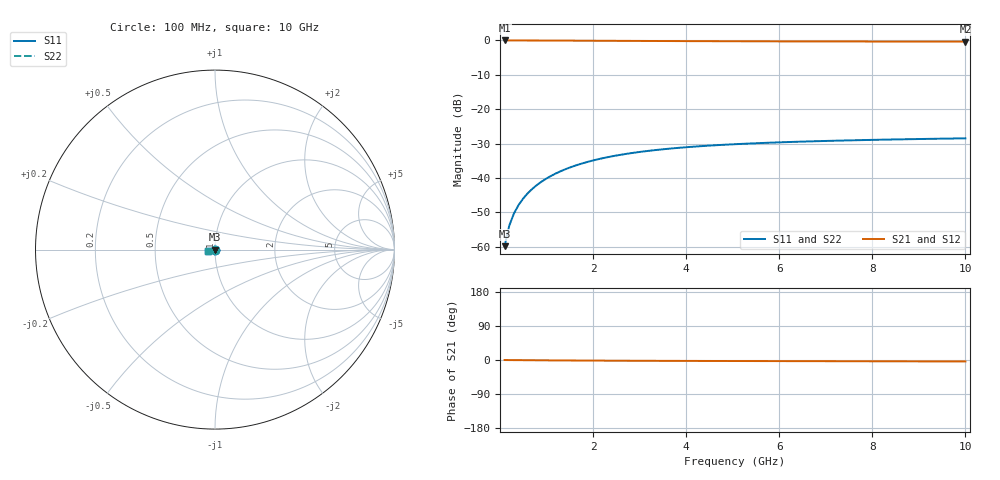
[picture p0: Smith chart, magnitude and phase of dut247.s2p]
! Touchstone file exported from HFSS 2024.1.0
!  File:  C:/UserFiles/LocalFiles/RDL_TSV_Batchsim/temp_TSV1_247_1778769041.aedt
!  Generated:  10:34:05 PM May 14, 2026
!  Design:  TSV1
!  Project:  temp_TSV1_247_1778769041
!  Setup:  Setup1
!  Solution:  Sweep
! Variables:
!  dtsv = 11.29um
!  hbump = 3um
!  htsv = 57.4um
!  lrdl = 252.1521522um
!  p = 40
!  p1 = 45.47um
!  t = 500um
!  trdl = 3um
!  wrdl = 24.89489489um
# GHz S MA R 50.000000
! Terminal data exported
! Port[1] = TSV22_T1
! Port[2] = TSV22_T2
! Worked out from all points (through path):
!   100 points, 100 MHz to 10 GHz, reference 50 ohm
!   highest |S21| = 0.00 dB at 100 MHz (marker M1); lowest = -0.3 dB at 10 GHz (marker M2)
!   lowest |S11| = -59.8 dB at 100 MHz (marker M3), VSWR 1.00, Z = 50 - j0.102 ohm
!   |S11| at or under -10 dB: start of sweep to end of sweep
!   |S22| runs from -59.8 to -28.5 dB; largest |S21 - S12| = 3.1e-15
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0.1  0.001022 -86.3  0.9999 -0.1  0.9999 -0.1  0.001022 -86.3
! Gamma 0 0 0 0
! Port Impedance 50 0 50 0
0.2  0.002035 -90.6  0.9998 -0.2  0.9998 -0.2  0.002035 -90.6
0.3  0.003046 -93.2  0.9996 -0.3  0.9996 -0.3  0.003046 -93.2
0.4  0.004051 -95.3  0.9994 -0.4  0.9994 -0.4  0.004051 -95.3
0.5  0.005048 -97.1  0.9991 -0.5  0.9991 -0.5  0.005048 -97.1
0.6  0.006036 -98.9  0.9988 -0.6  0.9988 -0.6  0.006036 -98.9
0.7  0.007011 -100.7  0.9984 -0.6  0.9984 -0.6  0.007011 -100.7
0.8  0.007973 -102.3  0.998 -0.7  0.998 -0.7  0.007973 -102.3
0.9  0.00892 -104.0  0.9975 -0.8  0.9975 -0.8  0.00892 -104.0
1.1  0.01076 -107.1  0.9965 -1.0  0.9965 -1.0  0.01076 -107.1
1.4  0.01338 -111.6  0.9947 -1.2  0.9947 -1.2  0.01338 -111.6
1.6  0.01501 -114.5  0.9934 -1.3  0.9934 -1.3  0.01501 -114.5
1.8  0.01656 -117.2  0.992 -1.5  0.992 -1.5  0.01655 -117.2
2.1  0.0187 -121.1  0.99 -1.6  0.99 -1.6  0.0187 -121.1
2.5  0.02123 -125.8  0.9873 -1.8  0.9873 -1.8  0.02123 -125.8
2.9  0.02343 -130.1  0.9846 -2.0  0.9846 -2.0  0.02343 -130.1
3.4  0.02576 -135.0  0.9816 -2.2  0.9816 -2.2  0.02576 -135.0
4.2  0.02869 -141.5  0.9773 -2.5  0.9773 -2.5  0.02869 -141.5
5.1  0.03115 -147.6  0.9733 -2.7  0.9733 -2.7  0.03115 -147.6
6.7  0.03416 -156.1  0.9682 -3.1  0.9682 -3.1  0.03416 -156.1
8.4  0.0363 -163.0  0.9645 -3.5  0.9645 -3.5  0.0363 -163.0
10  0.03776 -168.5  0.9621 -3.8  0.9621 -3.8  0.03776 -168.5
